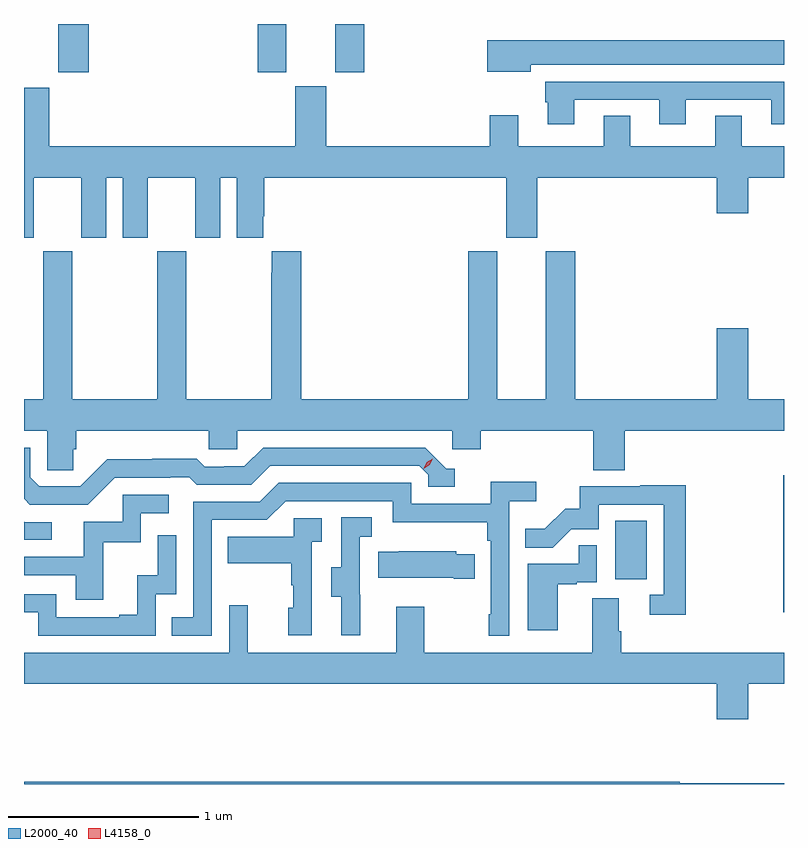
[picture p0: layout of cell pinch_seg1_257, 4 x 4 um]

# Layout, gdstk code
import gdstk
lib = gdstk.Library(unit=1e-6, precision=1e-09)
def R(c, l, rs):  # rectangles x0, y0, x1, y1
    for r in rs: c.add(gdstk.rectangle(r[:2], r[2:], *l))
def P(c, l, *ps):  # polygons
    for p in ps: c.add(gdstk.Polygon(p, *l))
L2000_40 = (2000, 40)
L4158_0 = (4158, 0)

pinch_seg1_257 = lib.new_cell('pinch_seg1_257')
R(pinch_seg1_257, L2000_40, [(932.588,577.416,932.593,578.137), (931.706,577.59,931.87,577.897), (928.774,580.257,928.934,580.512), (929.822,580.257,929.974,580.512), (930.23,580.257,930.383,580.512)])
P(pinch_seg1_257, L2000_40, [(931.261,580.298),(932.593,580.298),(932.593,580.426),(931.032,580.426),(931.032,580.262),(931.261,580.262)],
  [(931.489,580.113),(931.937,580.113),(931.937,579.984),(932.077,579.984),(932.077,580.113),(932.525,580.113),(932.525,579.984),(932.593,579.984),(932.593,580.209),(931.337,580.209),(931.337,580.101),(931.349,580.101),(931.349,579.984),(931.489,579.984)],
  [(928.645,579.704),(928.895,579.704),(928.895,579.387),(929.026,579.387),(929.026,579.704),(929.114,579.704),(929.114,579.387),(929.245,579.387),(929.245,579.704),(929.495,579.704),(929.495,579.387),(929.626,579.387),(929.626,579.704),(929.714,579.704),(929.714,579.387),(929.851,579.387),(929.851,579.499),(929.858,579.499),(929.858,579.704),(931.13,579.704),(931.13,579.387),(931.294,579.387),(931.294,579.704),(932.24,579.704),(932.24,579.516),(932.404,579.516),(932.404,579.704),(932.593,579.704),(932.593,579.868),(932.371,579.868),(932.371,580.028),(932.231,580.028),(932.231,579.868),(931.783,579.868),(931.783,580.028),(931.643,580.028),(931.643,579.868),(931.195,579.868),(931.195,580.033),(931.043,580.033),(931.043,579.868),(930.184,579.868),(930.184,580.185),(930.02,580.185),(930.02,579.868),(928.726,579.868),(928.726,580.177),(928.593,580.177),(928.593,579.387),(928.645,579.387)],
  [(928.853,578.274),(928.868,578.274),(928.868,578.372),(929.565,578.372),(929.565,578.274),(929.715,578.274),(929.715,578.372),(930.846,578.372),(930.846,578.274),(930.998,578.274),(930.998,578.372),(931.589,578.372),(931.589,578.164),(931.754,578.164),(931.754,578.372),(932.593,578.372),(932.593,578.536),(932.404,578.536),(932.404,578.911),(932.24,578.911),(932.24,578.536),(931.493,578.536),(931.493,579.315),(931.34,579.315),(931.34,578.536),(931.084,578.536),(931.084,579.315),(930.932,579.315),(930.932,578.536),(930.053,578.536),(930.053,579.316),(929.897,579.316),(929.897,579.203),(929.893,579.203),(929.893,578.536),(929.448,578.536),(929.448,579.316),(929.293,579.316),(929.293,578.536),(928.848,578.536),(928.848,579.316),(928.693,579.316),(928.693,578.536),(928.593,578.536),(928.593,578.372),(928.716,578.372),(928.716,578.164),(928.853,578.164)],
  [(929.07,578.124),(929.363,578.124),(929.363,578.127),(929.462,578.127),(929.501,578.088),(929.79,578.088),(929.889,578.187),(930.672,578.187),(930.72,578.139),(930.72,578.076),(930.859,578.076),(930.859,578.172),(930.816,578.172),(930.705,578.283),(929.852,578.283),(929.753,578.184),(929.646,578.184),(929.646,578.181),(929.543,578.181),(929.501,578.224),(929.268,578.224),(929.268,578.221),(929.032,578.221),(928.89,578.079),(928.674,578.079),(928.626,578.127),(928.626,578.283),(928.593,578.283),(928.593,578.013),(928.623,577.983),(928.929,577.983)],
  [(929.58,577.902),(929.871,577.902),(929.97,578.001),(930.534,578.001),(930.534,577.889),(931.03,577.889),(931.03,577.793),(931.05,577.793),(931.05,577.405),(931.038,577.405),(931.038,577.293),(931.146,577.293),(931.146,578),(931.288,578),(931.288,578.102),(931.049,578.102),(931.049,577.986),(930.63,577.986),(930.63,578.097),(929.933,578.097),(929.834,577.998),(929.484,577.998),(929.484,577.389),(929.371,577.389),(929.371,577.293),(929.58,577.293)],
  [(932.075,578.084),(931.837,578.084),(931.837,578.079),(931.519,578.079),(931.519,577.962),(931.442,577.962),(931.335,577.855),(931.231,577.855),(931.231,577.756),(931.375,577.756),(931.473,577.854),(931.617,577.854),(931.617,577.983),(931.959,577.983),(931.959,577.509),(931.887,577.509),(931.887,577.404),(932.075,577.404)],
  [(929.009,577.785),(929.208,577.785),(929.208,577.938),(929.356,577.938),(929.356,578.034),(929.112,578.034),(929.112,577.893),(928.907,577.893),(928.907,577.707),(928.593,577.707),(928.593,577.611),(928.865,577.611),(928.865,577.482),(929.009,577.482)],
  [(930.362,577.509),(930.36,577.509),(930.36,577.813),(930.424,577.813),(930.424,577.916),(930.264,577.916),(930.264,577.653),(930.209,577.653),(930.209,577.498),(930.263,577.498),(930.263,577.296),(930.362,577.296)],
  [(930.108,577.787),(930.16,577.787),(930.16,577.911),(930.012,577.911),(930.012,577.813),(929.665,577.813),(929.665,577.673),(930,577.673),(930,577.559),(930.01,577.559),(930.01,577.44),(929.984,577.44),(929.984,577.296),(930.108,577.296)],
  [(928.738,577.89),(928.596,577.89),(928.593,577.893),(928.593,577.797),(928.738,577.797)],
  [(929.286,577.512),(929.394,577.512),(929.394,577.822),(929.298,577.822),(929.298,577.61),(929.189,577.61),(929.189,577.402),(929.093,577.402),(929.093,577.389),(928.764,577.389),(928.764,577.512),(928.593,577.512),(928.593,577.416),(928.668,577.416),(928.668,577.293),(929.286,577.293)],
  [(931.402,577.563),(931.502,577.563),(931.502,577.575),(931.608,577.575),(931.608,577.769),(931.513,577.769),(931.513,577.671),(931.244,577.671),(931.244,577.32),(931.402,577.32)],
  [(930.965,577.72),(930.867,577.72),(930.867,577.738),(930.565,577.738),(930.565,577.735),(930.457,577.735),(930.457,577.598),(930.854,577.598),(930.854,577.591),(930.965,577.591)],
  [(932.404,577.04),(932.593,577.04),(932.593,577.204),(931.736,577.204),(931.736,577.316),(931.723,577.316),(931.723,577.49),(931.583,577.49),(931.583,577.204),(930.699,577.204),(930.699,577.444),(930.551,577.444),(930.551,577.204),(929.771,577.204),(929.771,577.453),(929.673,577.453),(929.673,577.204),(928.593,577.204),(928.593,577.04),(932.24,577.04),(932.24,576.852),(932.404,576.852)],
  [(932.593,576.517),(932.044,576.517),(932.044,576.524),(928.593,576.524),(928.593,576.512),(932.593,576.512)])
P(pinch_seg1_257, L4158_0, [(930.697,578.172),(930.697,578.172),(930.713,578.205),(930.744,578.224),(930.744,578.224),(930.744,578.224),(930.728,578.191),(930.697,578.172)])

lib.write_gds('pinch_seg1_257.gds')
